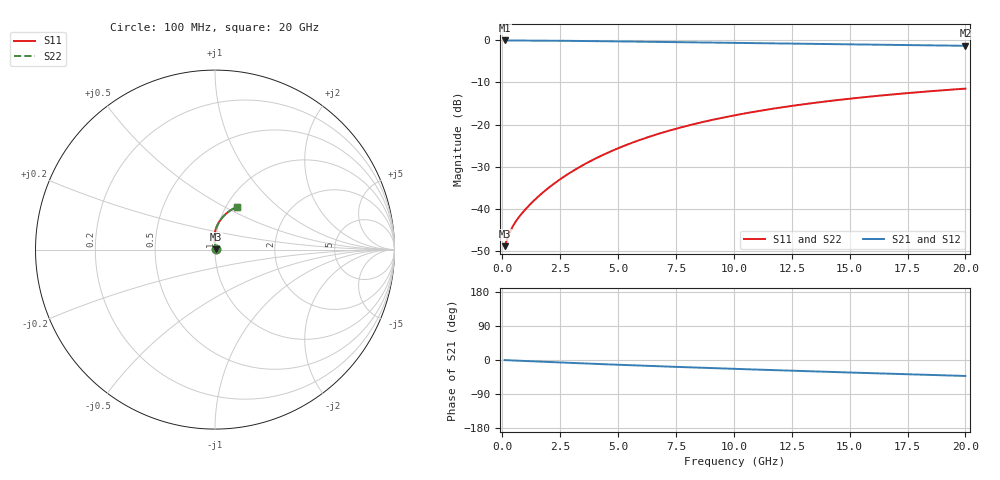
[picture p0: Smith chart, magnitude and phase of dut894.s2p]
! Touchstone file exported from HFSS 2024.1.0
!  File:  C:/UserFiles/LocalFiles/RDL_TSV_Batchsim/temp_RDL_bottom_894_1779866010.aedt
!  Generated:  03:16:04 PM May 27, 2026
!  Design:  RDL_bottom
!  Project:  temp_RDL_bottom_894_1779866010
!  Setup:  Setup1
!  Solution:  Sweep
! Variables:
!  dtsv = 10.80580581um
!  hbump = 3um
!  htsv = 66.18um
!  ldown = 675.04um
!  lrdl = 100um
!  p = 40
!  p1 = 44.98um
!  rhole = 1um
!  t = 450um
!  tdown = 2.63um
!  trdl = 3.915915916um
!  wdown = 29.79um
!  wrdl = 20um
# GHz S MA R 50.000000
! Terminal data exported
! Port[1] = RDL1_T1
! Port[2] = RDL1_T2
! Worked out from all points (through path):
!   200 points, 100 MHz to 20 GHz, reference 50 ohm
!   highest |S21| = -0.03 dB at 100 MHz (marker M1); lowest = -1.3 dB at 20 GHz (marker M2)
!   group delay of S21, straight-line fit = 5.76 ps
!   lowest |S11| = -48.9 dB at 100 MHz (marker M3), VSWR 1.01, Z = 50.3 + j0.122 ohm
!   |S11| at or under -10 dB: start of sweep to end of sweep
!   |S22| runs from -48.9 to -11.5 dB; largest |S21 - S12| = 3.4e-15
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0.1  0.003605 19.6  0.9966 -0.3  0.9966 -0.3  0.003605 19.6
! Gamma 0 0 0 0
! Port Impedance 50 0 50 0
0.3  0.005063 40.6  0.996 -0.8  0.996 -0.8  0.005063 40.6
0.4  0.005814 45.9  0.9957 -1.1  0.9957 -1.1  0.005814 45.9
0.5  0.006519 49.9  0.9953 -1.4  0.9953 -1.4  0.006519 49.9
0.6  0.007193 53.4  0.9951 -1.6  0.9951 -1.6  0.007193 53.4
0.8  0.008515 59.4  0.9945 -2.1  0.9945 -2.1  0.008515 59.4
1.2  0.01129 68.9  0.9934 -3.2  0.9934 -3.2  0.01129 68.9
1.7  0.01519 77.3  0.9917 -4.5  0.9917 -4.5  0.01519 77.3
2.2  0.01958 83.1  0.9895 -5.7  0.9895 -5.7  0.01958 83.1
2.8  0.02549 87.7  0.9864 -7.2  0.9864 -7.2  0.02549 87.7
3.5  0.03321 91.0  0.9822 -9.0  0.9822 -9.0  0.03322 91.1
4.2  0.04175 92.8  0.9774 -10.7  0.9774 -10.7  0.04175 92.8
5  0.05234 93.6  0.9714 -12.5  0.9714 -12.5  0.05235 93.6
5.9  0.06511 93.3  0.9643 -14.6  0.9643 -14.6  0.06512 93.3
6.8  0.07852 92.3  0.957 -16.6  0.957 -16.6  0.07854 92.3
8.4  0.1032 89.4  0.944 -20.0  0.944 -20.0  0.1033 89.4
10.1  0.1298 85.6  0.9305 -23.5  0.9305 -23.5  0.1299 85.6
11.7  0.1545 81.7  0.9183 -26.7  0.9183 -26.7  0.1546 81.8
13.4  0.1799 77.7  0.9059 -30.0  0.9059 -30.0  0.18 77.7
15  0.2028 73.9  0.8945 -33.0  0.8945 -33.0  0.2029 73.9
16.7  0.226 70.0  0.8829 -36.2  0.8829 -36.2  0.226 70.0
20  0.2671 62.9  0.8612 -42.1  0.8612 -42.1  0.2672 62.9
